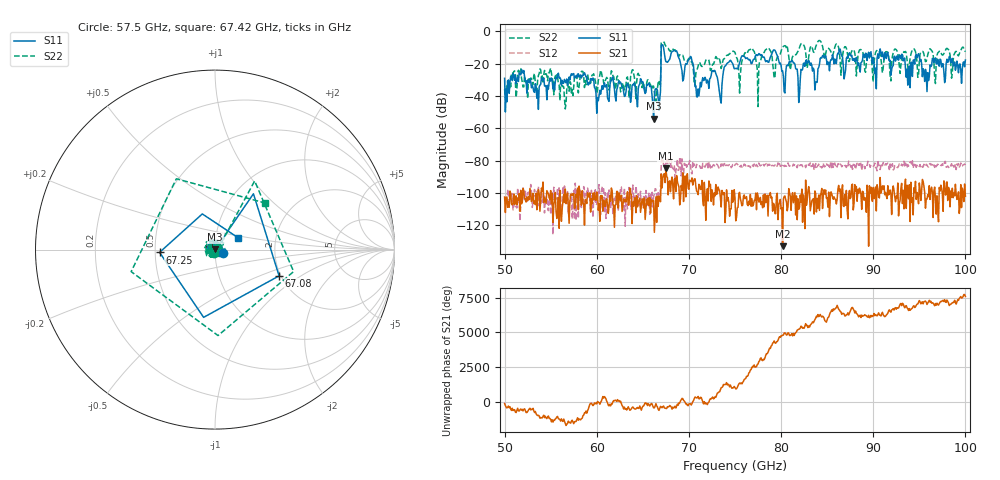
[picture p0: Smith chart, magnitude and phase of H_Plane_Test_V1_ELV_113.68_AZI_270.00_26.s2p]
! 11/27/2026 8:18:26 AM
! C:\ANRITSUVNA\TEMP\TEMP.S2P
! CHANNEL.1
! TR.MEASUREMENT
! RAW.DATA
# HZ S RI R 50.0
! FREQ.HZ  S11RE  S11IM  S21RE  S21IM  S12RE  S12IM  S22RE  S22IM
!; PortSelection: Port_12
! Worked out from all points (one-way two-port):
!   601 points, 50 GHz to 100 GHz, reference 50 ohm
!   highest |S21| = -84.87 dB at 67.5 GHz (marker M1); lowest = -133.0 dB at 80.17 GHz (marker M2)
!   lowest |S11| = -53.9 dB at 66.17 GHz (marker M3), VSWR 1.00, Z = 50.1 + j0.152 ohm
!   |S11| at or under -10 dB: start of sweep to 67 GHz; 67.24 GHz to end of sweep
!   |S22| runs from -48.0 to -5.6 dB; largest |S21 - S12| = 0.00015
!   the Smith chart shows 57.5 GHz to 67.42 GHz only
!   S11 on the Smith chart (normalised r, x): 57.5 GHz: 1.09, -0.05; 67.08 GHz: 1.96, -0.67; 67.25 GHz: 0.53, -0.02; 67.42 GHz: 1.29, +0.17
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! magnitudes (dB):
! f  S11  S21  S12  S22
! 50 GHz  -29.1  -102.6  -102.4  -35.8
! 51.67 GHz  -26.2  -111.4  -117.3  -23.1
! 57.5 GHz  -26.1  -100.3  -98.5  -34.4
! 58.42 GHz  -27.1  -98.7  -102.4  -24.6
! 60.17 GHz  -43.0  -110.8  -99.9  -30.2
! 66.17 GHz  -53.9  -104.7  -102.4  -33.9
! 66.67 GHz  -41.8  -108.4  -99.8  -31.6
! 67.08 GHz  -8.3  -96.9  -78.0  -6.8
! 67.25 GHz  -10.2  -88.4  -83.1  -6.3
! 67.42 GHz  -16.7  -93.6  -86.0  -8.4
! 67.5 GHz  -18.7  -84.9  -79.6  -9.1
! 70.17 GHz  -15.5  -92.8  -82.9  -18.5
! 70.92 GHz  -40.6  -99.5  -83.1  -23.1
! 75 GHz  -23.1  -103.1  -82.5  -13.0
! 79.25 GHz  -11.4  -107.2  -83.3  -28.9
! 80.17 GHz  -24.4  -133.0  -82.2  -9.7
! 83.42 GHz  -24.6  -104.1  -83.5  -10.9
! 91.67 GHz  -16.7  -101.3  -82.5  -15.3
! 93.75 GHz  -33.3  -101.1  -82.4  -21.8
! 94.83 GHz  -14.8  -101.7  -82.3  -28.4
! 95.83 GHz  -37.3  -103.8  -82.7  -16.4
! 100 GHz  -17.7  -102.1  -82.7  -12.6
